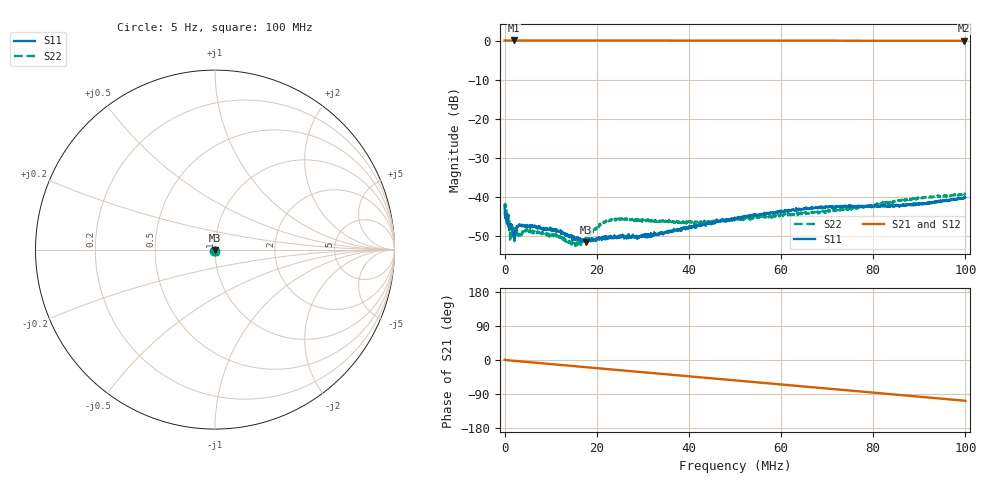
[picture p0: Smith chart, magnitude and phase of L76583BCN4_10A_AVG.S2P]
!Agilent Technologies,E5061B,MY49102235,A.02.00
!Date: Tue Jul 11 17:05:27 2023
!Data & Calibration Information:
!Freq	S11:SOLT2(ON)	S21:SOLT2(ON)	S12:SOLT2(ON)	S22:SOLT2(ON)
# Hz S RI R 50
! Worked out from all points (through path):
!   1600 points, 5 Hz to 100 MHz, reference 50 ohm
!   highest |S21| = 0.02 dB at 1.939 MHz (marker M1); lowest = -0.1 dB at 99.75 MHz (marker M2)
!   group delay of S21, straight-line fit = 2.99 ns
!   lowest |S11| = -51.5 dB at 17.7 MHz (marker M3), VSWR 1.01, Z = 50.2 - j0.189 ohm
!   |S11| at or under -10 dB: start of sweep to end of sweep
!   |S22| runs from -52.5 to -39.1 dB; largest |S21 - S12| = 0.0028
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5  -0.00524 -0.00564  1.002 0.00797  1.001 0.0102  -0.00138 -0.00755
500317.7  0.00462 0.000103  1.001 -0.00831  1.002 -0.00811  0.00481 -0.00147
1000630  0.00375 0.000388  1.001 -0.0177  1.001 -0.0171  0.00512 -0.00054
1500943  0.00436 -0.000761  1.002 -0.027  1.001 -0.0264  0.00301 -0.00192
1938717  0.00316 -6.24e-05  1.002 -0.0361  1.001 -0.0353  0.00345 0.00019
2439029  0.00382 -0.000188  0.9998 -0.0461  0.9992 -0.0454  0.0037 0.000266
3126959  0.00451 -0.000173  0.9994 -0.0586  0.999 -0.0582  0.00338 1.03e-05
4377741  0.00431 -0.000485  0.9979 -0.082  0.9973 -0.0816  0.00376 1.6e-05
6128835  0.00425 -0.0011  0.9947 -0.1144  0.9945 -0.1142  0.00367 -0.0008
1.11945e7  0.0027 -0.0024  0.9791 -0.2086  0.9789 -0.208  0.00172 -0.00278
1.507192e7  0.00203 -0.00242  0.9611 -0.2792  0.9609 -0.2786  0.00136 -0.00218
1.669794e7  0.00188 -0.00206  0.9519 -0.3083  0.9517 -0.3079  0.00144 -0.00208
1.769857e7  0.00188 -0.00189  0.946 -0.3262  0.9458 -0.3255  0.00222 -0.00202
2.107568e7  0.0024 -0.00151  0.9236 -0.3853  0.9232 -0.385  0.00395 -0.00229
2.320201e7  0.00262 -0.00145  0.9073 -0.4219  0.9071 -0.4217  0.00442 -0.00254
3.333334e7  0.00252 -0.00239  0.8106 -0.5855  0.8105 -0.585  0.00355 -0.00333
4.115072e7  0.00288 -0.00311  0.7158 -0.6971  0.7158 -0.6968  0.00285 -0.0036
5.003127e7  0.00326 -0.0043  0.5898 -0.8061  0.5897 -0.8055  0.00275 -0.00453
6.672921e7  0.00119 -0.00718  0.3115 -0.9467  0.3118 -0.9465  0.00211 -0.00605
8.33646e7  0.00155 -0.00764  0.00566 -0.9946  0.00575 -0.9944  0.00273 -0.00814
9.974984e7  0.000327 -0.00985  -0.2959 -0.947  -0.2955 -0.9469  0.00201 -0.0109
1e8  0.000339 -0.00995  -0.3004 -0.9457  -0.3001 -0.9456  0.00184 -0.0108
